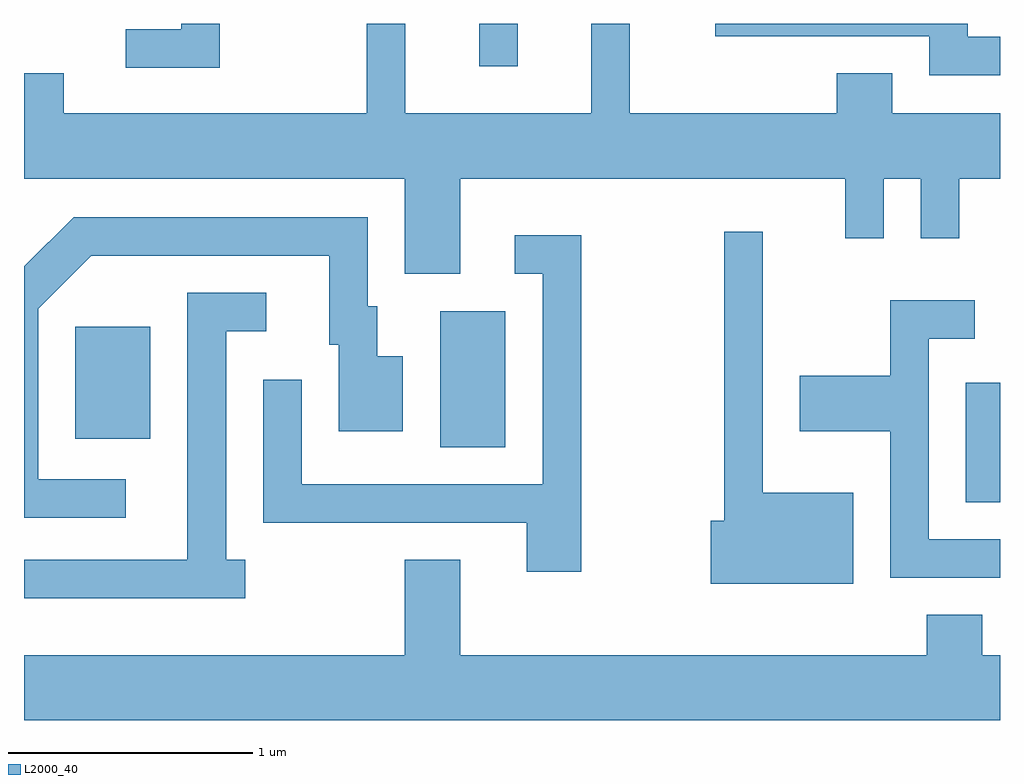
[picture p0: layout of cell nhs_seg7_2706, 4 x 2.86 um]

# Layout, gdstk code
import gdstk
lib = gdstk.Library(unit=1e-6, precision=1e-09)
def R(c, l, rs):  # rectangles x0, y0, x1, y1
    for r in rs: c.add(gdstk.rectangle(r[:2], r[2:], *l))
def P(c, l, *ps):  # polygons
    for p in ps: c.add(gdstk.Polygon(p, *l))
L2000_40 = (2000, 40)

nhs_seg7_2706 = lib.new_cell('nhs_seg7_2706')
R(nhs_seg7_2706, L2000_40, [(271.471,1746.291,271.611,1746.779), (269.316,1746.516,269.584,1747.074), (267.821,1746.551,268.129,1747.009), (269.476,1748.078,269.634,1748.252)])
P(nhs_seg7_2706, L2000_40, [(269.399,1747.616),(270.976,1747.616),(270.976,1747.373),(271.134,1747.373),(271.134,1747.616),(271.286,1747.616),(271.286,1747.373),(271.444,1747.373),(271.444,1747.616),(271.611,1747.616),(271.611,1747.884),(271.169,1747.884),(271.169,1748.049),(270.941,1748.049),(270.941,1747.884),(270.094,1747.884),(270.094,1748.252),(269.936,1748.252),(269.936,1747.884),(269.174,1747.884),(269.174,1748.252),(269.016,1748.252),(269.016,1747.884),(267.774,1747.884),(267.774,1748.049),(267.611,1748.049),(267.611,1747.616),(269.171,1747.616),(269.171,1747.226),(269.399,1747.226)],
  [(268.414,1748.252),(268.256,1748.252),(268.256,1748.229),(268.028,1748.229),(268.028,1748.071),(268.414,1748.071)],
  [(271.611,1748.199),(271.479,1748.199),(271.479,1748.252),(270.443,1748.252),(270.443,1748.201),(271.321,1748.201),(271.321,1748.041),(271.611,1748.041)],
  [(268.028,1746.384),(267.669,1746.384),(267.669,1747.084),(267.887,1747.301),(268.861,1747.301),(268.861,1746.936),(268.901,1746.936),(268.901,1746.581),(269.164,1746.581),(269.164,1746.889),(269.059,1746.889),(269.059,1747.094),(269.019,1747.094),(269.019,1747.459),(267.814,1747.459),(267.611,1747.257),(267.611,1746.226),(268.028,1746.226)],
  [(271.009,1746.329),(270.639,1746.329),(270.639,1747.398),(270.481,1747.398),(270.481,1746.214),(270.426,1746.214),(270.426,1745.956),(271.009,1745.956)],
  [(269.894,1747.384),(269.623,1747.384),(269.623,1747.226),(269.736,1747.226),(269.736,1746.364),(268.749,1746.364),(268.749,1746.793),(268.591,1746.793),(268.591,1746.206),(269.671,1746.206),(269.671,1746.006),(269.894,1746.006)],
  [(268.518,1746.054),(268.439,1746.054),(268.439,1746.991),(268.603,1746.991),(268.603,1747.149),(268.281,1747.149),(268.281,1746.054),(267.611,1746.054),(267.611,1745.896),(268.518,1745.896)],
  [(271.611,1746.139),(271.319,1746.139),(271.319,1746.961),(271.508,1746.961),(271.508,1747.119),(271.161,1747.119),(271.161,1746.809),(270.791,1746.809),(270.791,1746.581),(271.161,1746.581),(271.161,1745.981),(271.611,1745.981)],
  [(271.611,1745.664),(271.539,1745.664),(271.539,1745.829),(271.311,1745.829),(271.311,1745.664),(269.399,1745.664),(269.399,1746.054),(269.171,1746.054),(269.171,1745.664),(267.611,1745.664),(267.611,1745.396),(271.611,1745.396)])

lib.write_gds('nhs_seg7_2706.gds')
